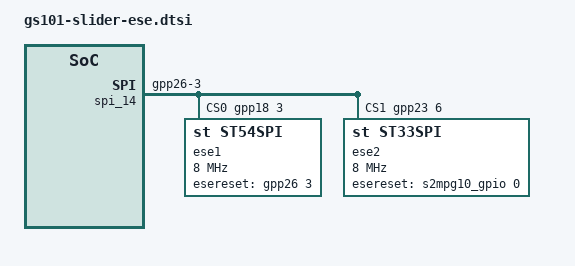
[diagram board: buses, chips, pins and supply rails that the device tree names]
// SPDX-License-Identifier: GPL-2.0
/*
 * Google GS101 Board device tree source
 *
 * Copyright (c) 2020 Google, LLC
 *		https://www.google.com
 *
*/

#include <dt-bindings/pinctrl/samsung.h>
#include <dt-bindings/gpio/gpio.h>

&pinctrl_5 {
	ese1_spi_rst: ese1-spi-rst {
		samsung,pins ="gpp26-3";
		samsung,pin-con-pdn = <EXYNOS_PIN_PDN_PREV>;
		samsung,pin-pud-pdn = <EXYNOS_PIN_PULL_NONE>;
	};
};

&spi14_bus {
	samsung,pin-con-pdn = <EXYNOS_PIN_PDN_PREV>;
	samsung,pin-pud-pdn = <EXYNOS_PIN_PULL_NONE>;
};

&spi14_cs {
	samsung,pin-con-pdn = <EXYNOS_PIN_PDN_PREV>;
	samsung,pin-pud-pdn = <EXYNOS_PIN_PULL_NONE>;
};

&spi14_cs2 {
	samsung,pin-con-pdn = <EXYNOS_PIN_PDN_PREV>;
	samsung,pin-pud-pdn = <EXYNOS_PIN_PULL_NONE>;
};


&spi_14 {
	/* XAPC_USI14 */
	#address-cells = <1>;
	#size-cells = <0>;
	status = "okay";
	pinctrl-names = "default";
	pinctrl-0 = <&spi14_bus &spi14_cs &spi14_cs2 &ese1_spi_rst>;
	cs-gpios = <&gpp18 3 0>, <&gpp23 6 0>;

	ese1: ese@0 {
		compatible = "st,st54spi";
		reg = <0>;
		spi-max-frequency = <8000000>;
		esereset-gpio = <&gpp26 3 0>;
		power_mode = "ST54J";

		controller-data {
			cs-gpio = <&gpp18 3 0>;
			cs-clock-delay = <10>;
			samsung,spi-chip-select-mode = <0>;
		};
	};

	ese2: ese@1 {
		compatible = "st,st33spi";
		reg = <1>;
		spi-max-frequency = <8000000>;
		esereset-gpio = <&s2mpg10_gpio 0 0>;
		power_mode = "ST33";

		controller-data {
			cs-gpio = <&gpp23 6 0>;
			cs-clock-delay = <10>;
			samsung,spi-chip-select-mode = <0>;
		};
	};
};
